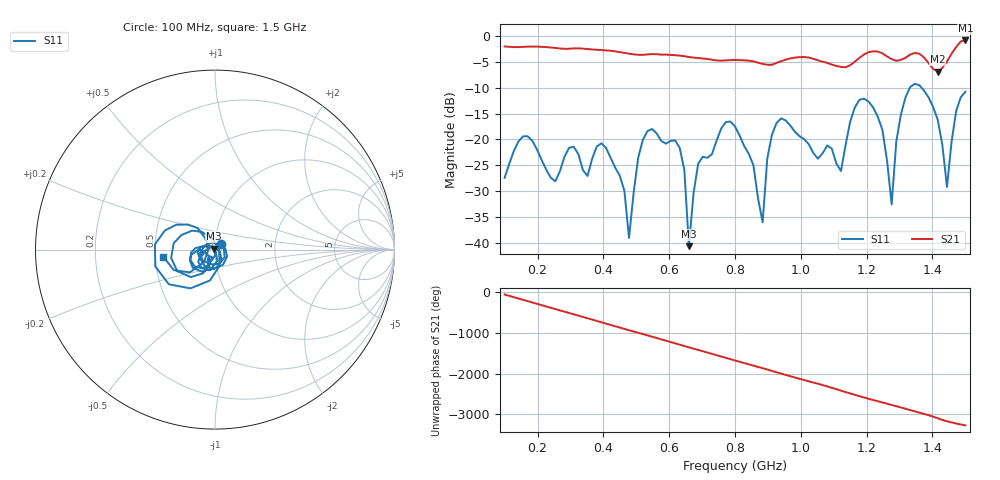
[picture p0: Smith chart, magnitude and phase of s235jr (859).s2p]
! NanoVNA-App
! Date: 2025-09-25 15:10:51
! Start: 100MHz Stop: 1,5GHz Points: 101
! S-Parameter data: F S11 S21 S12 S22
# Hz S RI R 50
!  Frequency  S11_Real  S11_Imag  S21_Real  S21_Imag  S12_Real  S12_Imag  S22_Real  S22_Imag
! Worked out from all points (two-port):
!   101 points, 100 MHz to 1.5 GHz, reference 50 ohm
!   highest |S21| = -0.80 dB at 1.5 GHz (marker M1); lowest = -6.8 dB at 1.416 GHz (marker M2)
!   |S21| within 3 dB of the highest: start of sweep to 639.3 MHz; 1.186 GHz to 1.259 GHz (73.58 MHz wide, 6.02 % of centre) (the widest 2 of 4)
!   lowest |S11| = -40.7 dB at 660 MHz (marker M3), VSWR 1.02, Z = 49.3 + j0.584 ohm
!   |S11| at or under -10 dB: start of sweep to 1.331 GHz; 1.367 GHz to end of sweep
!   S12 and S22 are empty: the file has one direction only
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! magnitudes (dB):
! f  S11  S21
! 100 MHz  -27.5  -2.0
! 156 MHz  -19.4  -2.0
! 338 MHz  -26.0  -2.4
! 408 MHz  -21.6  -2.7
! 478 MHz  -39.1  -3.4
! 520 MHz  -20.1  -3.6
! 576 MHz  -20.3  -3.5
! 632 MHz  -21.6  -3.7
! 660 MHz  -40.7  -4.0
! 688 MHz  -24.7  -4.2
! 800 MHz  -17.5  -4.6
! 884 MHz  -36.1  -5.4
! 926 MHz  -16.8  -5.2
! 1.038 GHz  -22.6  -4.4
! 1.122 GHz  -26.1  -5.9
! 1.206 GHz  -12.7  -3.1
! 1.276 GHz  -32.6  -4.4
! 1.29 GHz  -20.4  -4.7
! 1.332 GHz  -9.9  -3.6
! 1.416 GHz  -16.2  -6.8
! 1.444 GHz  -29.2  -4.9
! 1.5 GHz  -10.8  -0.8
